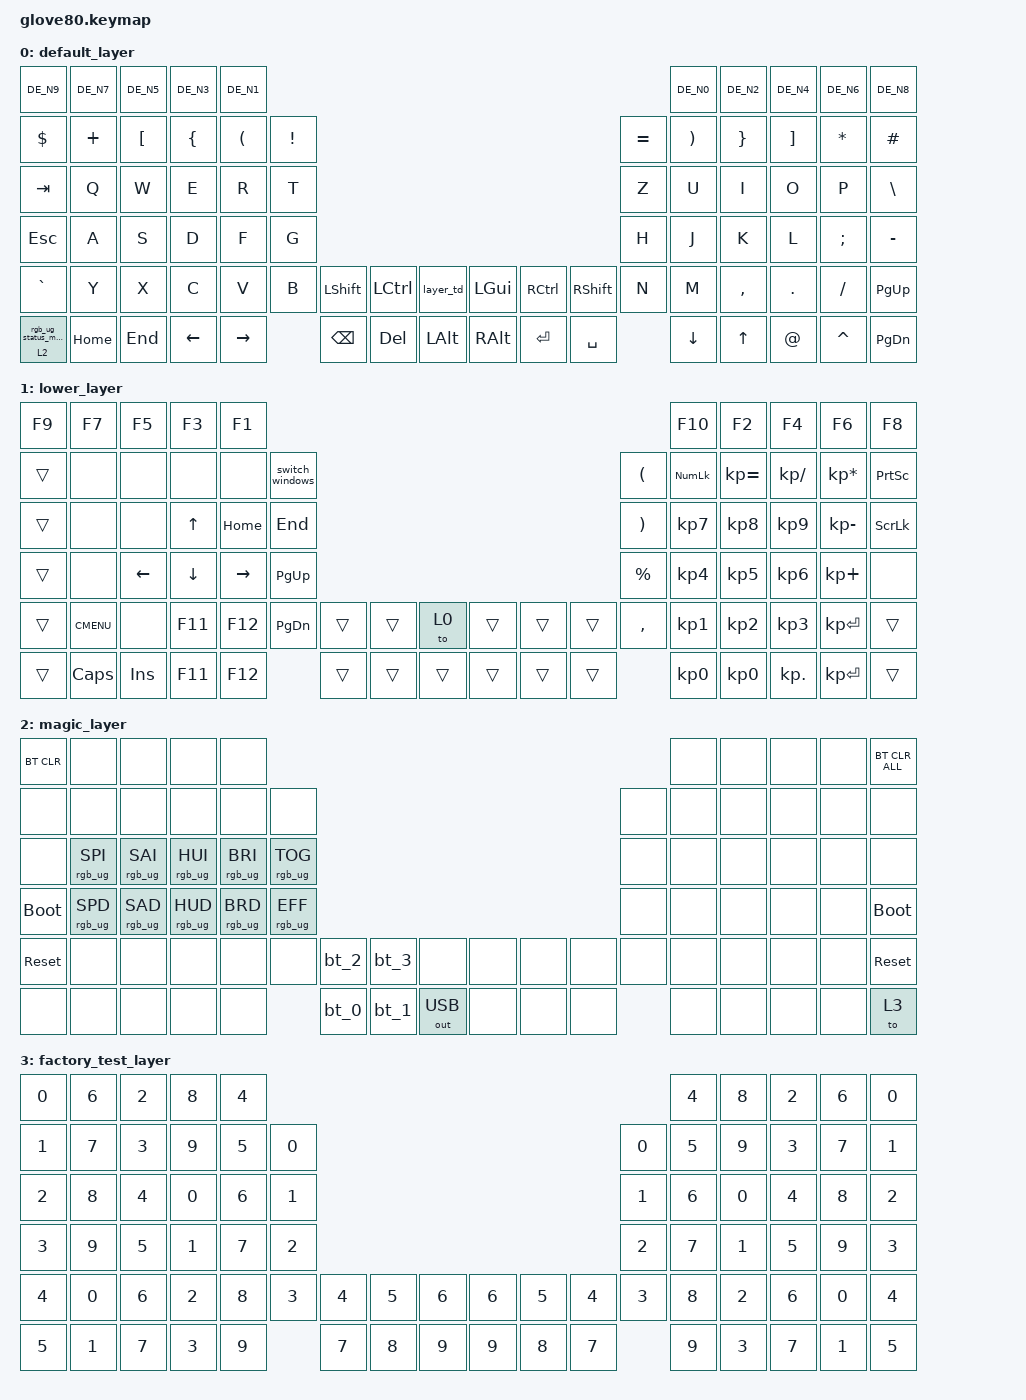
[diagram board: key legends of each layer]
/*
 * Copyright (c) 2020 The ZMK Contributors
 *
 * SPDX-License-Identifier: MIT
 */

#include "keys_de.h"
#include <behaviors.dtsi>
#include <dt-bindings/zmk/bt.h>
#include <dt-bindings/zmk/keys.h>
#include <dt-bindings/zmk/outputs.h>
#include <dt-bindings/zmk/rgb.h>

#define HYPER LC(LS(LG(LALT)))

// layers

#define DEFAULT 0
#define LOWER 1
#define MAGIC 2
#define FACTORY_TEST 3

/ {
    behaviors {
        // For the "layer" key, it'd nice to be able to use it as either a shift or a toggle.
        // Configure it as a tap dance, so the first tap (or hold) is a &mo and the second tap is a &to

        layer_td: tap_dance_0 {
            compatible = "zmk,behavior-tap-dance";
            label = "LAYER_TAP_DANCE";
            #binding-cells = <0>;
            tapping-term-ms = <200>;
            bindings = <&mo 1>, <&to 1>;
        };

        magic: magic_hold_tap {
            compatible = "zmk,behavior-hold-tap";
            label = "MAGIC_HOLD_TAP";
            #binding-cells = <2>;
            flavor = "tap-preferred";
            tapping-term-ms = <200>;
            bindings = <&mo>, <&rgb_ug_status_macro>;
        };
    };

    macros {
        rgb_ug_status_macro: rgb_ug_status_macro_0 {
            label = "RGB_UG_STATUS";
            compatible = "zmk,behavior-macro";
            #binding-cells = <0>;
            bindings = <&rgb_ug RGB_STATUS>;
        };

        bt_0: bt_profile_macro_0 {
            label = "BT_0";
            compatible = "zmk,behavior-macro";
            #binding-cells = <0>;
            bindings = <&out OUT_BLE &bt BT_SEL 0>;
        };

        bt_1: bt_profile_macro_1 {
            label = "BT_1";
            compatible = "zmk,behavior-macro";
            #binding-cells = <0>;
            bindings = <&out OUT_BLE &bt BT_SEL 1>;
        };

        bt_2: bt_profile_macro_2 {
            label = "BT_2";
            compatible = "zmk,behavior-macro";
            #binding-cells = <0>;
            bindings = <&out OUT_BLE &bt BT_SEL 2>;
        };

        bt_3: bt_profile_macro_3 {
            label = "BT_3";
            compatible = "zmk,behavior-macro";
            #binding-cells = <0>;
            bindings = <&out OUT_BLE &bt BT_SEL 3>;
        };

        switch_windows: switch_windows {
            compatible = "zmk,behavior-macro";
            #binding-cells = <0>;
            bindings = <&kp LEFT_ALT &kp TAB>;
            label = "SWITCH_WINDOWS";
        };
    };

    combos {
        compatible = "zmk,combos";

        doublequotes {
            bindings = <&kp DOUBLE_QUOTES>;
            key-positions = <36 38>;
        };

        singlequotes {
            bindings = <&kp SINGLE_QUOTE>;
            key-positions = <24 26>;
        };

        ampsand {
            bindings = <&kp AMPERSAND>;
            key-positions = <14 13>;
        };

        questionmark {
            bindings = <&kp QUESTION>;
            key-positions = <29 30>;
        };

        enter {
            bindings = <&kp ENTER>;
            key-positions = <41 42>;
        };

        percent {
            bindings = <&kp PERCENT>;
            key-positions = <17 18>;
        };
    };

    keymap {
        compatible = "zmk,keymap";

        default_layer {
            // ---------------------------------------------------------------------------------------------------------------------------------
            // |  F1   |  F2 |  F3 |  F4  |  F5  |                                                               |  F6   |  F7   |  F8  |   F9  |  F10 |
            // |  =    |  1  |  2  |  3   |  4   |  5   |                                                 |  6   |   7   |   8   |  9   |   0   |   -  |
            // |  TAB  |  Q  |  W  |  E   |  R   |  T   |                                                 |  Y   |   U   |   I   |  O   |   P   |   \  |
            // |  ESC  |  A  |  S  |  D   |  F   |  G   |                                                 |  H   |   J   |   K   |  L   |   ;   |   '  |
            // |   `   |  Z  |  X  |  C   |  V   |  B   | LSHFT | LCTRL | LOWER | | LGUI  | RCTRL | RSHFT |  N   |   M   |   ,   |  .   |   /   | PGUP |
            // | MAGIC | HOME| END | LEFT | RIGHT|      | BSPC  | DEL   | LALT  | | RALT  | RET   | SPACE |      |  UP   | DOWN  |  [   |   ]   | PGDN |

            bindings = <
&kp DE_N9   &kp DE_N7  &kp DE_N5  &kp DE_N3       &kp DE_N1                                                                                                &kp DE_N0  &kp DE_N2     &kp DE_N4  &kp DE_N6     &kp DE_N8
&kp DOLLAR  &kp PLUS   &kp LBKT   &kp LEFT_BRACE  &kp LPAR   &kp EXCL                                                                           &kp EQUAL  &kp RPAR   &kp RBRC      &kp RBKT   &kp ASTERISK  &kp HASH
&kp TAB     &kp Q      &kp W      &kp E           &kp R      &kp T                                                                              &kp Z      &kp U      &kp I         &kp O      &kp P         &kp BSLH
&kp ESC     &kp A      &kp S      &kp D           &kp F      &kp G                                                                              &kp H      &kp J      &kp K         &kp L      &kp SEMI      &kp MINUS
&kp GRAVE   &kp Y      &kp X      &kp C           &kp V      &kp B     &kp LSHFT  &kp LCTRL  &layer_td     &kp LGUI       &kp RCTRL  &kp RSHFT  &kp N      &kp M      &kp COMMA     &kp DOT    &kp FSLH      &kp PG_UP
&magic 2 0  &kp HOME   &kp END    &kp LEFT        &kp RIGHT            &kp BSPC   &kp DEL    &kp LEFT_ALT  &kp RIGHT_ALT  &kp RET    &kp SPACE             &kp DOWN   &kp UP_ARROW  &kp AT     &kp CARET     &kp PG_DN
            >;
        };

        lower_layer {
            bindings = <
&kp F9  &kp F7       &kp F5    &kp F3    &kp F1                                                                                 &kp F10     &kp F2        &kp F4         &kp F6           &kp F8
&trans  &none        &none     &none     &none      &switch_windows                                                  &kp LPAR   &kp KP_NUM  &kp KP_EQUAL  &kp KP_DIVIDE  &kp KP_MULTIPLY  &kp PSCRN
&trans  &none        &none     &kp UP    &kp HOME   &kp END                                                          &kp RPAR   &kp KP_N7   &kp KP_N8     &kp KP_N9      &kp KP_MINUS     &kp SLCK
&trans  &none        &kp LEFT  &kp DOWN  &kp RIGHT  &kp PG_UP                                                        &kp PRCNT  &kp KP_N4   &kp KP_N5     &kp KP_N6      &kp KP_PLUS      &none
&trans  &kp K_CMENU  &none     &kp F11   &kp F12    &kp PG_DN        &trans  &trans  &to 0   &trans  &trans  &trans  &kp COMMA  &kp KP_N1   &kp KP_N2     &kp KP_N3      &kp KP_ENTER     &trans
&trans  &kp CAPS     &kp INS   &kp F11   &kp F12                     &trans  &trans  &trans  &trans  &trans  &trans             &kp KP_N0   &kp KP_N0     &kp KP_DOT     &kp KP_ENTER     &trans
            >;
        };

        magic_layer {
            bindings = <
&bt BT_CLR   &none            &none            &none            &none                                                                                     &none  &none  &none  &none  &bt BT_CLR_ALL
&none        &none            &none            &none            &none            &none                                                             &none  &none  &none  &none  &none  &none
&none        &rgb_ug RGB_SPI  &rgb_ug RGB_SAI  &rgb_ug RGB_HUI  &rgb_ug RGB_BRI  &rgb_ug RGB_TOG                                                   &none  &none  &none  &none  &none  &none
&bootloader  &rgb_ug RGB_SPD  &rgb_ug RGB_SAD  &rgb_ug RGB_HUD  &rgb_ug RGB_BRD  &rgb_ug RGB_EFF                                                   &none  &none  &none  &none  &none  &bootloader
&sys_reset   &none            &none            &none            &none            &none            &bt_2  &bt_3  &none         &none  &none  &none  &none  &none  &none  &none  &none  &sys_reset
&none        &none            &none            &none            &none                             &bt_0  &bt_1  &out OUT_USB  &none  &none  &none         &none  &none  &none  &none  &to 3
            >;
        };

        factory_test_layer {
            bindings = <
&kp N0  &kp N6  &kp N2  &kp N8  &kp N4                                                                  &kp N4  &kp N8  &kp N2  &kp N6  &kp N0
&kp N1  &kp N7  &kp N3  &kp N9  &kp N5  &kp N0                                                  &kp N0  &kp N5  &kp N9  &kp N3  &kp N7  &kp N1
&kp N2  &kp N8  &kp N4  &kp N0  &kp N6  &kp N1                                                  &kp N1  &kp N6  &kp N0  &kp N4  &kp N8  &kp N2
&kp N3  &kp N9  &kp N5  &kp N1  &kp N7  &kp N2                                                  &kp N2  &kp N7  &kp N1  &kp N5  &kp N9  &kp N3
&kp N4  &kp N0  &kp N6  &kp N2  &kp N8  &kp N3  &kp N4  &kp N5  &kp N6  &kp N6  &kp N5  &kp N4  &kp N3  &kp N8  &kp N2  &kp N6  &kp N0  &kp N4
&kp N5  &kp N1  &kp N7  &kp N3  &kp N9          &kp N7  &kp N8  &kp N9  &kp N9  &kp N8  &kp N7          &kp N9  &kp N3  &kp N7  &kp N1  &kp N5
            >;
        };
    };
};
